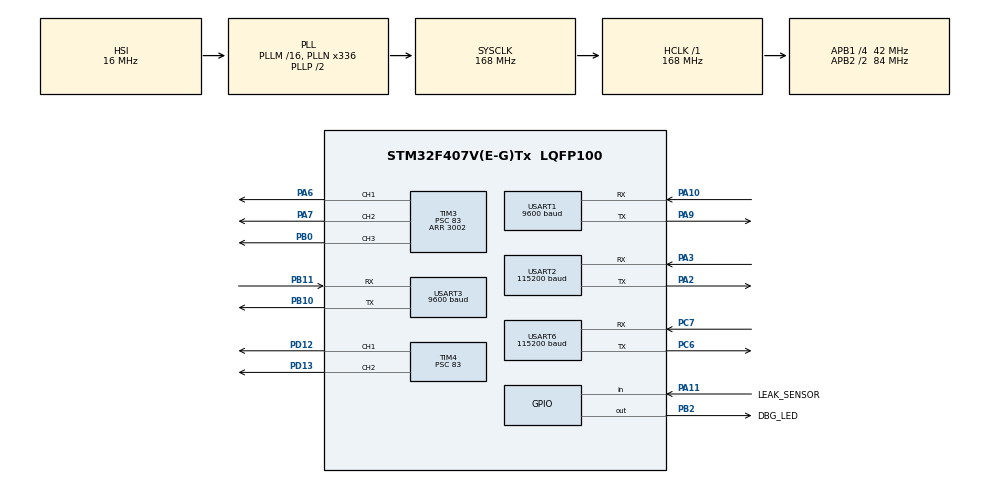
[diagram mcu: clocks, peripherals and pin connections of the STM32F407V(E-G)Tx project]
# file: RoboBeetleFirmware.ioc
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Mcu.Family=STM32F4
Mcu.Name=STM32F407V(E-G)Tx
Mcu.Package=LQFP100
NVIC.PriorityGroup=NVIC_PRIORITYGROUP_4
NVIC.TIM3_IRQn=true\:1\:0\:false\:false\:true\:true\:true\:true
NVIC.TIM4_IRQn=true\:1\:0\:false\:false\:true\:true\:true\:true
NVIC.USART1_IRQn=true\:0\:0\:false\:false\:true\:true\:true\:true
NVIC.USART2_IRQn=true\:0\:0\:false\:false\:true\:true\:true\:true
NVIC.USART3_IRQn=true\:0\:0\:false\:false\:true\:true\:true\:true
NVIC.USART6_IRQn=true\:0\:0\:false\:false\:true\:true\:true\:true
PA10.Mode=Asynchronous
PA10.Signal=USART1_RX
PA2.Mode=Asynchronous
PA2.Signal=USART2_TX
PA3.Mode=Asynchronous
PA3.Signal=USART2_RX
PA11.GPIO_Label=LEAK_SENSOR
PA11.Signal=GPIO_Input
PA13.Mode=Serial_Wire
PA13.Signal=SYS_JTMS-SWDIO
PA14.Mode=Serial_Wire
PA14.Signal=SYS_JTCK-SWCLK
PB10.Mode=Asynchronous
PB10.Signal=USART3_TX
PB11.Mode=Asynchronous
PB11.Signal=USART3_RX
PC6.Mode=Asynchronous
PC6.Signal=USART6_TX
PC7.Mode=Asynchronous
PC7.Signal=USART6_RX
PA6.Signal=S_TIM3_CH1
PA7.Signal=S_TIM3_CH2
PA9.Mode=Asynchronous
PA9.Signal=USART1_TX
PB0.Signal=S_TIM3_CH3
PB2.GPIO_Label=DBG_LED
PB2.Signal=GPIO_Output
PD12.Signal=S_TIM4_CH1
PD13.Signal=S_TIM4_CH2
ProjectManager.HeapSize=0x200
ProjectManager.StackSize=0x400
ProjectManager.TargetToolchain=CMake
RCC.48MHZClocksFreq_Value=48000000
RCC.AHBCLKDivider=RCC_SYSCLK_DIV1
RCC.AHBFreq_Value=168000000
RCC.APB1CLKDivider=RCC_HCLK_DIV4
RCC.APB1Freq_Value=42000000
RCC.APB1TimFreq_Value=84000000
RCC.APB2CLKDivider=RCC_HCLK_DIV2
RCC.APB2Freq_Value=84000000
RCC.APB2TimFreq_Value=168000000
RCC.CortexFreq_Value=168000000
RCC.HSE_VALUE=25000000
RCC.HSI_VALUE=16000000
RCC.HCLKFreq_Value=168000000
RCC.LSE_VALUE=32768
RCC.PLLM=16
RCC.PLLN=336
RCC.PLLP=RCC_PLLP_DIV2
RCC.PLLQ=7
RCC.PLLSourceVirtual=RCC_PLLSOURCE_HSI
RCC.PWR_Regulator_Voltage_Scale=PWR_REGULATOR_VOLTAGE_SCALE1
RCC.SYSCLKFreq_VALUE=168000000
RCC.SYSCLKSource=RCC_SYSCLKSOURCE_PLLCLK
RCC.VCOOutputFreq_Value=336000000
SH.S_TIM3_CH1.0=TIM3_CH1,PWM Generation1 CH1
SH.S_TIM3_CH2.0=TIM3_CH2,PWM Generation2 CH2
SH.S_TIM3_CH3.0=TIM3_CH3,PWM Generation3 CH3
SH.S_TIM4_CH1.0=TIM4_CH1,PWM Generation1 CH1
SH.S_TIM4_CH2.0=TIM4_CH2,PWM Generation2 CH2
TIM3.Channel-PWM\ Generation1\ CH1=TIM_CHANNEL_1
TIM3.Channel-PWM\ Generation2\ CH2=TIM_CHANNEL_2
TIM3.Channel-PWM\ Generation3\ CH3=TIM_CHANNEL_3
TIM3.Period=3002
TIM3.Prescaler=83
TIM3.Pulse-PWM\ Generation1\ CH1=1500
TIM3.Pulse-PWM\ Generation2\ CH2=1500
TIM3.Pulse-PWM\ Generation3\ CH3=1500
TIM4.Channel-PWM\ Generation1\ CH1=TIM_CHANNEL_1
TIM4.Channel-PWM\ Generation2\ CH2=TIM_CHANNEL_2
TIM4.Period=3002
TIM4.Prescaler=83
TIM4.Pulse-PWM\ Generation1\ CH1=1520
TIM4.Pulse-PWM\ Generation2\ CH2=1520
USART1.BaudRate=9600
USART1.VirtualMode=VM_ASYNC
USART2.BaudRate=115200
USART2.VirtualMode=VM_ASYNC
USART3.BaudRate=9600
USART3.VirtualMode=VM_ASYNC
USART6.BaudRate=115200
USART6.VirtualMode=VM_ASYNC
board=custom

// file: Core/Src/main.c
/* USER CODE BEGIN Header */
/**
  ******************************************************************************
  * @file           : main.c
  * @brief          : Main program body
  ******************************************************************************
  * @attention
  *
  * Copyright (c) 2026 STMicroelectronics.
  * All rights reserved.
  *
  * This software is licensed under terms that can be found in the LICENSE file
  * in the root directory of this software component.
  * If no LICENSE file comes with this software, it is provided AS-IS.
  *
  ******************************************************************************
  */
/* USER CODE END Header */
#include "main.h"

#include <stdint.h>

/* USER CODE BEGIN Includes */
#include "app_main.h"
#include "depth_transport_stm32.h"
#include "jy901s_transport_stm32.h"
#include "uart_transport_stm32.h"
/* USER CODE END Includes */

TIM_HandleTypeDef htim3;
TIM_HandleTypeDef htim4;

UART_HandleTypeDef huart1;
UART_HandleTypeDef huart2;
UART_HandleTypeDef huart3;
UART_HandleTypeDef huart6;

void SystemClock_Config(void);
static void MX_GPIO_Init(void);
static void MX_TIM3_Init(void);
static void MX_TIM4_Init(void);
static void MX_USART1_UART_Init(void);
static void MX_USART2_UART_Init(void);
static void MX_USART3_UART_Init(void);
static void MX_USART6_UART_Init(void);

int main(void)
{

  /* MCU Configuration--------------------------------------------------------*/

  /* Reset of all peripherals, Initializes the Flash interface and the Systick. */
  HAL_Init();

  /* Configure the system clock */
  SystemClock_Config();

  /* Initialize all configured peripherals */
  MX_GPIO_Init();
  MX_TIM3_Init();
  MX_TIM4_Init();
  MX_USART1_UART_Init();
  MX_USART2_UART_Init();
  MX_USART3_UART_Init();
  MX_USART6_UART_Init();
  /* USER CODE BEGIN 2 */
  app_main_init(
      &huart2,
      &huart3,
      &huart6,
      &htim3,
      &htim4,
      LEAK_SENSOR_GPIO_Port,
      LEAK_SENSOR_Pin);
  /* USER CODE END 2 */

  /* Infinite loop */
  while (1)
  {

    /* USER CODE BEGIN 3 */
    app_main_process();
  }
  /* USER CODE END 3 */
}

void SystemClock_Config(void)
{
  RCC_OscInitTypeDef RCC_OscInitStruct = {0};
  RCC_ClkInitTypeDef RCC_ClkInitStruct = {0};

  /** Configure the main internal regulator output voltage
  */
  __HAL_RCC_PWR_CLK_ENABLE();
  __HAL_PWR_VOLTAGESCALING_CONFIG(PWR_REGULATOR_VOLTAGE_SCALE1);

  /** Initializes the RCC Oscillators according to the specified parameters
  * in the RCC_OscInitTypeDef structure.
  */
  RCC_OscInitStruct.OscillatorType = RCC_OSCILLATORTYPE_HSI;
  RCC_OscInitStruct.HSIState = RCC_HSI_ON;
  RCC_OscInitStruct.HSICalibrationValue = RCC_HSICALIBRATION_DEFAULT;
  RCC_OscInitStruct.PLL.PLLState = RCC_PLL_ON;
  RCC_OscInitStruct.PLL.PLLSource = RCC_PLLSOURCE_HSI;
  RCC_OscInitStruct.PLL.PLLM = 16;
  RCC_OscInitStruct.PLL.PLLN = 336;
  RCC_OscInitStruct.PLL.PLLP = RCC_PLLP_DIV2;
  RCC_OscInitStruct.PLL.PLLQ = 7;
  if (HAL_RCC_OscConfig(&RCC_OscInitStruct) != HAL_OK)
  {
    Error_Handler();
  }

  /** Initializes the CPU, AHB and APB buses clocks
  */
  RCC_ClkInitStruct.ClockType = RCC_CLOCKTYPE_HCLK|RCC_CLOCKTYPE_SYSCLK
                              |RCC_CLOCKTYPE_PCLK1|RCC_CLOCKTYPE_PCLK2;
  RCC_ClkInitStruct.SYSCLKSource = RCC_SYSCLKSOURCE_PLLCLK;
  RCC_ClkInitStruct.AHBCLKDivider = RCC_SYSCLK_DIV1;
  RCC_ClkInitStruct.APB1CLKDivider = RCC_HCLK_DIV4;
  RCC_ClkInitStruct.APB2CLKDivider = RCC_HCLK_DIV2;

  if (HAL_RCC_ClockConfig(&RCC_ClkInitStruct, FLASH_LATENCY_5) != HAL_OK)
  {
    Error_Handler();
  }
}

static void MX_TIM3_Init(void)
{

  TIM_MasterConfigTypeDef sMasterConfig = {0};
  TIM_OC_InitTypeDef sConfigOC = {0};

  htim3.Instance = TIM3;
  htim3.Init.Prescaler = 83;
  htim3.Init.CounterMode = TIM_COUNTERMODE_UP;
  htim3.Init.Period = 3002;
  htim3.Init.ClockDivision = TIM_CLOCKDIVISION_DIV1;
  htim3.Init.AutoReloadPreload = TIM_AUTORELOAD_PRELOAD_DISABLE;
  if (HAL_TIM_PWM_Init(&htim3) != HAL_OK)
  {
    Error_Handler();
  }
  sMasterConfig.MasterOutputTrigger = TIM_TRGO_RESET;
  sMasterConfig.MasterSlaveMode = TIM_MASTERSLAVEMODE_DISABLE;
  if (HAL_TIMEx_MasterConfigSynchronization(&htim3, &sMasterConfig) != HAL_OK)
  {
    Error_Handler();
  }
  sConfigOC.OCMode = TIM_OCMODE_PWM1;
  sConfigOC.Pulse = 1500;
  sConfigOC.OCPolarity = TIM_OCPOLARITY_HIGH;
  sConfigOC.OCFastMode = TIM_OCFAST_DISABLE;
  if (HAL_TIM_PWM_ConfigChannel(&htim3, &sConfigOC, TIM_CHANNEL_1) != HAL_OK)
  {
    Error_Handler();
  }
  if (HAL_TIM_PWM_ConfigChannel(&htim3, &sConfigOC, TIM_CHANNEL_2) != HAL_OK)
  {
    Error_Handler();
  }
  if (HAL_TIM_PWM_ConfigChannel(&htim3, &sConfigOC, TIM_CHANNEL_3) != HAL_OK)
  {
    Error_Handler();
  }
  HAL_TIM_MspPostInit(&htim3);

}

static void MX_TIM4_Init(void)
{

  TIM_MasterConfigTypeDef sMasterConfig = {0};
  TIM_OC_InitTypeDef sConfigOC = {0};

  htim4.Instance = TIM4;
  htim4.Init.Prescaler = 83;
  htim4.Init.CounterMode = TIM_COUNTERMODE_UP;
  htim4.Init.Period = 3002;
  htim4.Init.ClockDivision = TIM_CLOCKDIVISION_DIV1;
  htim4.Init.AutoReloadPreload = TIM_AUTORELOAD_PRELOAD_DISABLE;
  if (HAL_TIM_PWM_Init(&htim4) != HAL_OK)
  {
    Error_Handler();
  }
  sMasterConfig.MasterOutputTrigger = TIM_TRGO_RESET;
  sMasterConfig.MasterSlaveMode = TIM_MASTERSLAVEMODE_DISABLE;
  if (HAL_TIMEx_MasterConfigSynchronization(&htim4, &sMasterConfig) != HAL_OK)
  {
    Error_Handler();
  }
  sConfigOC.OCMode = TIM_OCMODE_PWM1;
  sConfigOC.Pulse = 1520;
  sConfigOC.OCPolarity = TIM_OCPOLARITY_HIGH;
  sConfigOC.OCFastMode = TIM_OCFAST_DISABLE;
  if (HAL_TIM_PWM_ConfigChannel(&htim4, &sConfigOC, TIM_CHANNEL_1) != HAL_OK)
  {
    Error_Handler();
  }
  if (HAL_TIM_PWM_ConfigChannel(&htim4, &sConfigOC, TIM_CHANNEL_2) != HAL_OK)
  {
    Error_Handler();
  }
  HAL_TIM_MspPostInit(&htim4);

}

static void MX_USART1_UART_Init(void)
{

  huart1.Instance = USART1;
  huart1.Init.BaudRate = 9600;
  huart1.Init.WordLength = UART_WORDLENGTH_8B;
  huart1.Init.StopBits = UART_STOPBITS_1;
  huart1.Init.Parity = UART_PARITY_NONE;
  huart1.Init.Mode = UART_MODE_TX_RX;
  huart1.Init.HwFlowCtl = UART_HWCONTROL_NONE;
  huart1.Init.OverSampling = UART_OVERSAMPLING_16;
  if (HAL_UART_Init(&huart1) != HAL_OK)
  {
    Error_Handler();
  }

}

static void MX_USART2_UART_Init(void)
{

  huart2.Instance = USART2;
  huart2.Init.BaudRate = 115200;
  huart2.Init.WordLength = UART_WORDLENGTH_8B;
  huart2.Init.StopBits = UART_STOPBITS_1;
  huart2.Init.Parity = UART_PARITY_NONE;
  huart2.Init.Mode = UART_MODE_TX_RX;
  huart2.Init.HwFlowCtl = UART_HWCONTROL_NONE;
  huart2.Init.OverSampling = UART_OVERSAMPLING_16;
  if (HAL_UART_Init(&huart2) != HAL_OK)
  {
    Error_Handler();
  }

}

static void MX_USART3_UART_Init(void)
{

  huart3.Instance = USART3;
  huart3.Init.BaudRate = 9600;
  huart3.Init.WordLength = UART_WORDLENGTH_8B;
  huart3.Init.StopBits = UART_STOPBITS_1;
  huart3.Init.Parity = UART_PARITY_NONE;
  huart3.Init.Mode = UART_MODE_TX_RX;
  huart3.Init.HwFlowCtl = UART_HWCONTROL_NONE;
  huart3.Init.OverSampling = UART_OVERSAMPLING_16;
  if (HAL_UART_Init(&huart3) != HAL_OK)
  {
    Error_Handler();
  }

}

static void MX_USART6_UART_Init(void)
{

  huart6.Instance = USART6;
  huart6.Init.BaudRate = 115200;
  huart6.Init.WordLength = UART_WORDLENGTH_8B;
  huart6.Init.StopBits = UART_STOPBITS_1;
  huart6.Init.Parity = UART_PARITY_NONE;
  huart6.Init.Mode = UART_MODE_TX_RX;
  huart6.Init.HwFlowCtl = UART_HWCONTROL_NONE;
  huart6.Init.OverSampling = UART_OVERSAMPLING_16;
  if (HAL_UART_Init(&huart6) != HAL_OK)
  {
    Error_Handler();
  }

}

static void MX_GPIO_Init(void)
{
  GPIO_InitTypeDef GPIO_InitStruct = {0};

  /* GPIO Ports Clock Enable */
  __HAL_RCC_GPIOA_CLK_ENABLE();
  __HAL_RCC_GPIOB_CLK_ENABLE();

  /*Configure GPIO pin Output Level */
  HAL_GPIO_WritePin(DBG_LED_GPIO_Port, DBG_LED_Pin, GPIO_PIN_RESET);

  /*Configure GPIO pin : DBG_LED_Pin */
  GPIO_InitStruct.Pin = DBG_LED_Pin;
  GPIO_InitStruct.Mode = GPIO_MODE_OUTPUT_PP;
  GPIO_InitStruct.Pull = GPIO_NOPULL;
  GPIO_InitStruct.Speed = GPIO_SPEED_FREQ_LOW;
  HAL_GPIO_Init(DBG_LED_GPIO_Port, &GPIO_InitStruct);

  /*Configure GPIO pin : LEAK_SENSOR_Pin */
  GPIO_InitStruct.Pin = LEAK_SENSOR_Pin;
  GPIO_InitStruct.Mode = GPIO_MODE_INPUT;
  GPIO_InitStruct.Pull = GPIO_NOPULL;
  GPIO_InitStruct.Speed = GPIO_SPEED_FREQ_LOW;
  HAL_GPIO_Init(LEAK_SENSOR_GPIO_Port, &GPIO_InitStruct);

}

/* USER CODE BEGIN 4 */
void HAL_UART_RxCpltCallback(UART_HandleTypeDef *huart)
{
    uart_transport_stm32_on_rx_complete(huart);
    jy901s_transport_stm32_on_rx_complete(huart);
    depth_transport_stm32_on_rx_complete(huart);
}

void HAL_UART_TxCpltCallback(UART_HandleTypeDef *huart)
{
    uart_transport_stm32_on_tx_complete(huart);
}

void HAL_UART_AbortTransmitCpltCallback(UART_HandleTypeDef *huart)
{
    uart_transport_stm32_on_abort_transmit_complete(huart);
}

void HAL_UART_ErrorCallback(UART_HandleTypeDef *huart)
{
    uart_transport_stm32_on_error(huart);
    jy901s_transport_stm32_on_error(huart);
    depth_transport_stm32_on_error(huart);
}
/* USER CODE END 4 */

void Error_Handler(void)
{
  __disable_irq();
  while (1)
  {
  }
}
